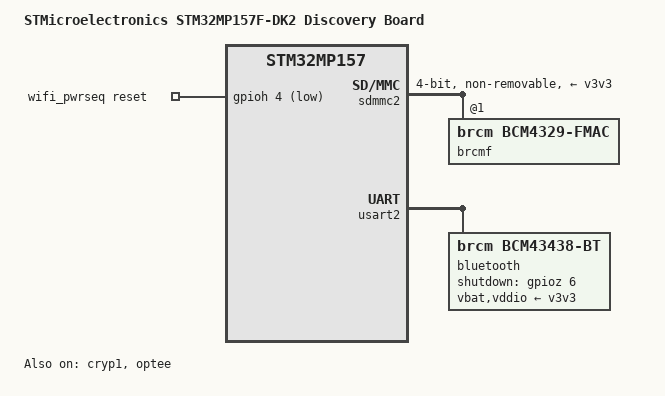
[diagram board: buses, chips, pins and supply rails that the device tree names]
// SPDX-License-Identifier: (GPL-2.0+ OR BSD-3-Clause)
/*
 * Copyright (C) STMicroelectronics 2019 - All Rights Reserved
 * Author: Alexandre Torgue <alexandre.torgue@st.com> for STMicroelectronics.
 */

/dts-v1/;

#include "stm32mp151.dtsi"
#include "stm32mp15xf.dtsi"
#include "stm32mp15-pinctrl.dtsi"
#include "stm32mp15xxaa-pinctrl.dtsi"
#include "stm32mp15xx-dkx.dtsi"
#include <dt-bindings/rtc/rtc-stm32.h>

/ {
	model = "STMicroelectronics STM32MP157F-DK2 Discovery Board";
	compatible = "st,stm32mp157f-dk2", "st,stm32mp157";

	aliases {
		ethernet0 = &ethernet0;
		serial0 = &uart4;
		serial1 = &usart3;
		serial2 = &uart7;
		serial3 = &usart2;
		serial7 = &usart8;
	};

	chosen {
		stdout-path = "serial7:115200n8";
	};

	reserved-memory {
		gpu_reserved: gpu@da000000 {
			reg = <0xda000000 0x4000000>;
			no-map;
		};

		optee_memory: optee@0xde000000 {
			reg = <0xde000000 0x02000000>;
			no-map;
			status = "disabled";
		};
	};

	wifi_pwrseq: wifi-pwrseq {
		compatible = "mmc-pwrseq-simple";
		reset-gpios = <&gpioh 4 GPIO_ACTIVE_LOW>;
	};
};

&cryp1 {
	status="okay";
};

&rtc {
	st,lsco = <RTC_OUT2_RMP>;
	pinctrl-0 = <&rtc_out2_rmp_pins_a>;
	pinctrl-names = "default";
};

/* Wifi */
&sdmmc2 {
	arm,primecell-periphid = <0x10153180>;
	pinctrl-names = "default", "opendrain", "sleep";
	pinctrl-0 = <&sdmmc2_b4_pins_a>;
	pinctrl-1 = <&sdmmc2_b4_od_pins_a>;
	pinctrl-2 = <&sdmmc2_b4_sleep_pins_a>;
	non-removable;
	st,neg-edge;
	bus-width = <4>;
	vmmc-supply = <&v3v3>;
	mmc-pwrseq = <&wifi_pwrseq>;
	#address-cells = <1>;
	#size-cells = <0>;
	status = "okay";

	brcmf: bcrmf@1 {
		reg = <1>;
		compatible = "brcm,bcm4329-fmac";
	};
};

/* Bluetooth */
&usart2 {
	pinctrl-names = "default", "sleep", "idle";
	pinctrl-0 = <&usart2_pins_a>;
	pinctrl-1 = <&usart2_sleep_pins_a>;
	pinctrl-2 = <&usart2_idle_pins_a>;
	uart-has-rtscts;
	status = "okay";

	bluetooth {
		shutdown-gpios = <&gpioz 6 GPIO_ACTIVE_HIGH>;
		compatible = "brcm,bcm43438-bt";
		max-speed = <3000000>;
		vbat-supply = <&v3v3>;
		vddio-supply = <&v3v3>;
	};
};

&optee_memory {
	status = "okay";
};

&optee {
	status = "okay";
};
